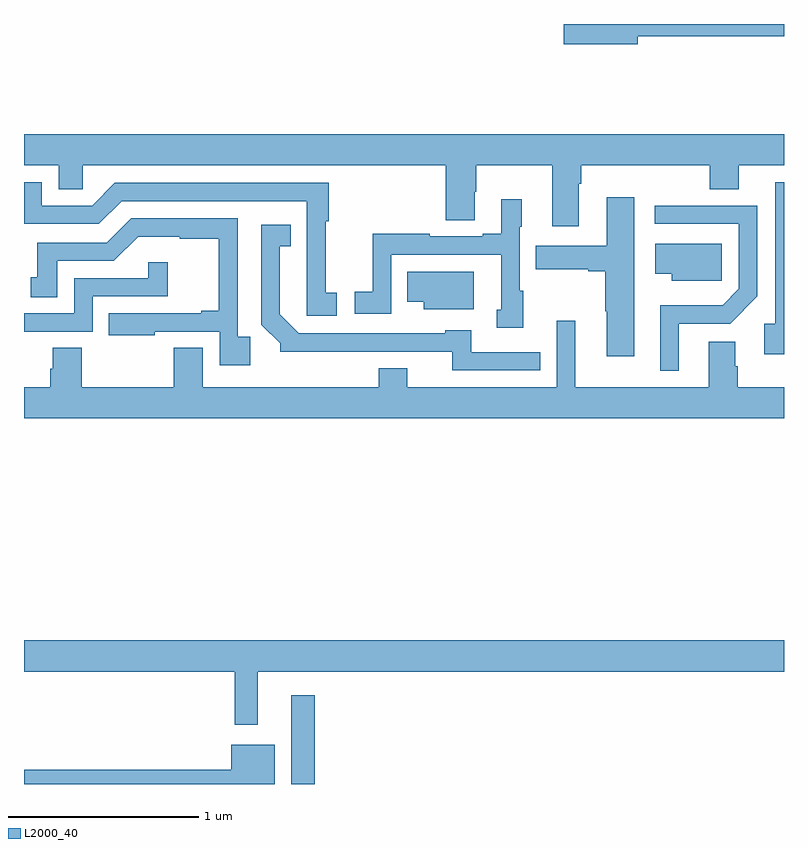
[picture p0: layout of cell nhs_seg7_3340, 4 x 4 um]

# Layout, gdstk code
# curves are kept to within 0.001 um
import gdstk
lib = gdstk.Library(unit=1e-6, precision=1e-09)
def R(c, l, rs):  # rectangles x0, y0, x1, y1
    for r in rs: c.add(gdstk.rectangle(r[:2], r[2:], *l))
def P(c, l, *ps):  # polygons
    for p in ps: c.add(gdstk.Polygon(p, *l))
L2000_40 = (2000, 40)

nhs_seg7_3340 = lib.new_cell('nhs_seg7_3340')
R(nhs_seg7_3340, L2000_40, [(324.407,1024,324.529,1024.468)])
P(nhs_seg7_3340, L2000_40, [(326.23,1027.936),(327,1027.936),(327,1028),(325.842,1028),(325.842,1027.894),(326.23,1027.894)],
  [(325.921,1027.16),(325.934,1027.16),(325.934,1027.256),(326.609,1027.256),(326.609,1027.129),(326.761,1027.129),(326.761,1027.256),(327,1027.256),(327,1027.42),(323,1027.42),(323,1027.256),(323.183,1027.256),(323.183,1027.129),(323.31,1027.129),(323.31,1027.256),(325.22,1027.256),(325.22,1026.967),(325.372,1026.967),(325.372,1027.118),(325.38,1027.118),(325.38,1027.256),(325.781,1027.256),(325.781,1026.936),(325.921,1026.936)],
  [(327,1027.167),(326.955,1027.167),(326.955,1026.422),(326.895,1026.422),(326.895,1026.261),(327,1026.261)],
  [(324.646,1026.585),(324.588,1026.585),(324.588,1026.961),(324.605,1026.961),(324.605,1027.164),(323.478,1027.164),(323.358,1027.044),(323.094,1027.044),(323.094,1027.167),(323,1027.167),(323,1026.948),(323.394,1026.948),(323.514,1027.068),(324.489,1027.068),(324.488,1026.465),(324.646,1026.465)],
  [(326.212,1027.087),(326.066,1027.087),(326.066,1026.832),(325.693,1026.832),(325.693,1026.71),(325.97,1026.71),(325.97,1026.698),(326.059,1026.698),(326.059,1026.489),(326.066,1026.489),(326.066,1026.252),(326.212,1026.252)],
  [(325.627,1026.595),(325.608,1026.595),(325.608,1026.933),(325.621,1026.933),(325.621,1027.078),(325.511,1027.078),(325.511,1026.895),(325.415,1026.895),(325.415,1026.882),(325.136,1026.882),(325.136,1026.895),(324.835,1026.895),(324.835,1026.59),(324.741,1026.59),(324.741,1026.474),(324.933,1026.474),(324.933,1026.786),(325.511,1026.786),(325.511,1026.495),(325.487,1026.495),(325.487,1026.401),(325.627,1026.401)],
  [(326.446,1026.423),(326.716,1026.423),(326.859,1026.566),(326.859,1027.044),(326.319,1027.044),(326.319,1026.948),(326.763,1026.948),(326.763,1026.606),(326.677,1026.52),(326.348,1026.52),(326.348,1026.174),(326.446,1026.174)],
  [(324.191,1026.355),(324.126,1026.355),(324.126,1026.978),(323.565,1026.978),(323.436,1026.849),(323.069,1026.849),(323.069,1026.666),(323.036,1026.666),(323.036,1026.562),(323.176,1026.562),(323.176,1026.753),(323.472,1026.753),(323.6,1026.881),(323.819,1026.881),(323.819,1026.87),(324.025,1026.87),(324.025,1026.49),(323.933,1026.49),(323.933,1026.477),(323.446,1026.477),(323.446,1026.362),(323.689,1026.362),(323.689,1026.381),(324.03,1026.381),(324.03,1026.204),(324.191,1026.204)],
  [(325.718,1026.273),(325.354,1026.273),(325.354,1026.388),(325.218,1026.388),(325.218,1026.372),(324.447,1026.372),(324.346,1026.473),(324.346,1026.83),(324.404,1026.83),(324.404,1026.943),(324.249,1026.943),(324.249,1026.418),(324.348,1026.319),(324.348,1026.275),(325.255,1026.276),(325.255,1026.177),(325.718,1026.177)],
  [(326.673,1026.844),(326.322,1026.844),(326.322,1026.686),(326.408,1026.686),(326.408,1026.65),(326.673,1026.65)],
  [(323.361,1026.567),(323.756,1026.567),(323.756,1026.745),(323.655,1026.745),(323.655,1026.663),(323.265,1026.663),(323.265,1026.477),(323,1026.477),(323,1026.381),(323.361,1026.381)],
  [(325.366,1026.697),(325.018,1026.697),(325.018,1026.539),(325.103,1026.539),(325.103,1026.5),(325.366,1026.5)],
  [(327,1026.088),(326.756,1026.088),(326.756,1026.2),(326.743,1026.2),(326.743,1026.328),(326.603,1026.328),(326.603,1026.088),(325.9,1026.088),(325.9,1026.439),(325.803,1026.439),(325.803,1026.088),(325.018,1026.088),(325.018,1026.187),(324.866,1026.187),(324.866,1026.088),(323.941,1026.088),(323.941,1026.296),(323.789,1026.296),(323.789,1026.088),(323.303,1026.088),(323.303,1026.296),(323.15,1026.296),(323.15,1026.186),(323.138,1026.186),(323.138,1026.088),(323,1026.088),(323,1025.924),(327,1025.924)],
  [(324.229,1024.592),(327,1024.592),(327,1024.756),(323,1024.756),(323,1024.592),(324.108,1024.592),(324.108,1024.311),(324.229,1024.311)],
  [(324.319,1024.207),(324.092,1024.207),(324.092,1024.076),(323,1024.076),(323,1024),(324.319,1024)])

lib.write_gds('nhs_seg7_3340.gds')
